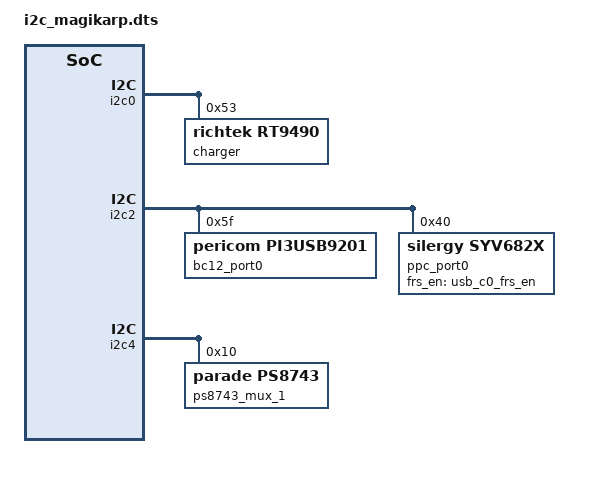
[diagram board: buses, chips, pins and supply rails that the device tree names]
/* Copyright 2022 The ChromiumOS Authors
 * Use of this source code is governed by a BSD-style license that can be
 * found in the LICENSE file.
 */

#include "i2c_krabby_tentacruel.dtsi"

&i2c0 {
	charger: rt9490@53 {
		compatible = "richtek,rt9490";
		status = "okay";
		reg = <0x53>;
	};
};

&i2c2 {
	bc12_port0: pi3usb9201@5f {
		compatible = "pericom,pi3usb9201";
		status = "okay";
		reg = <0x5f>;
		irq = <&int_usb_c0_bc12>;
	};
	ppc_port0: syv682x@40 {
		compatible = "silergy,syv682x";
		status = "okay";
		reg = <0x40>;
		frs_en_gpio = <&usb_c0_frs_en>;
	};
};

&i2c4 {
	ps8743_mux_1: ps8743-mux-1@10 {
		compatible = "parade,ps8743";
		reg = <0x10>;
	};
};
